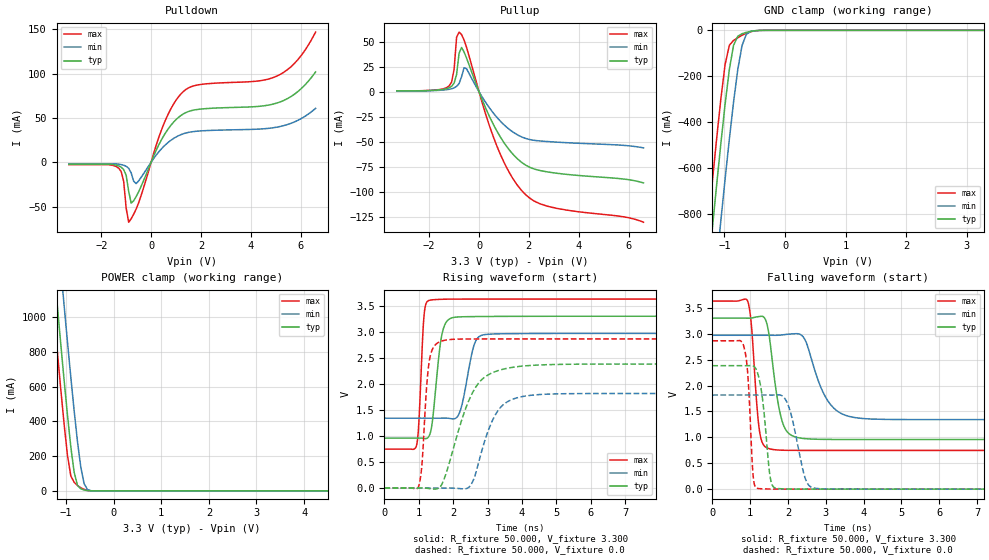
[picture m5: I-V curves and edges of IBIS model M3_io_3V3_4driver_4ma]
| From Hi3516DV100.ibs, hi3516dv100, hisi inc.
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|   Model M3_io_3V3_4driver_4ma
[Model] M3_io_3V3_4driver_4ma
Model_type I/O
Enable   Active-Low
|   typ   min   max
C_comp   3.181pF   3.125pF   3.270pF
C_comp_pullup   1.675pF   1.624pF   1.756pF
C_comp_pulldown   1.280pF   1.254pF   1.411pF
[Temperature Range]   25.000   0.125k   -40.000
[Voltage Range]   3.300V   2.970V   3.630V
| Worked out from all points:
|   slope of the pulldown table from 0 to 0.495 V, typ, clamps not added: 16.9 ohm
|   slope of the pullup table from 0 to 0.495 V, typ, clamps not added: 17.3 ohm
|   GND clamp passes 1 mA (typ) near -0.46 V on its own axis
|   POWER clamp passes 1 mA (typ) near -0.51 V on its own axis
|   rising waveform, R_fixture 50.000, V_fixture 3.300: 20-80 % time 220ps typ, 285ps min, 118ps max; typ from 0.959 V to 3.3 V
|   rising waveform, R_fixture 50.000, V_fixture 0.0: 20-80 % time 742ps typ, 581ps min, 170ps max; typ from 0.001 V to 2.38 V
|   falling waveform, R_fixture 50.000, V_fixture 3.300: 20-80 % time 277ps typ, 523ps min, 168ps max; typ from 3.3 V to 0.959 V
|   falling waveform, R_fixture 50.000, V_fixture 0.0: 20-80 % time 193ps typ, 320ps min, 121ps max; typ from 2.38 V to 0.001 V
[Pulldown]
|Voltage   I(typ)   I(min)   I(max)
-3.3V     -2.354mA   -1.816mA   -2.619mA
-1.3V     -4.156mA   -2.185mA   -6.703mA
-1.1V     -8.261mA   -3.369mA   -21.61mA
-1V       -14.82mA   -4.556mA   -51.87mA
-900mV    -32.66mA   -6.823mA   -67.55mA
-800mV    -46.1mA    -11.93mA   -63.68mA
-600mV    -38.72mA   -24.06mA   -52.72mA
500mV     29.54mA    17.65mA    42.4mA
1.2V      52.77mA    31.15mA    77.07mA
5.1V      67.23mA    39.85mA    97.83mA
5.9V      79.93mA    47.41mA    116mA
6.6V      101.8mA    60.78mA    146.7mA
[Pullup]
|Voltage   I(typ)   I(min)   I(max)
-3.3V     751.9uA    692.7uA    762uA
-1.2V     3.909mA    2.403mA    5.781mA
-1V       8.533mA    3.798mA    22.34mA
-900mV    17.17mA    5.261mA    54.32mA
-800mV    38.41mA    8.181mA    59.49mA
-700mV    44.12mA    14.91mA    56.95mA
-500mV    33.54mA    22.89mA    44.27mA
700mV     -38.47mA   -25.06mA   -53.16mA
1.2V      -57.62mA   -37.28mA   -79.98mA
1.8V      -72.07mA   -45.99mA   -101mA
2.8V      -80.24mA   -49.82mA   -114.6mA
6.6V      -90.99mA   -56.06mA   -130.2mA
[GND_clamp]
|Voltage   I(typ)   I(min)   I(max)
-3.3V     -6.775A    -7.035A    -6.624A
-1.27V    -1.051A    -1.391A    -846.9mA
-1.2V     -860.6mA   -1.2A      -657.1mA
-1.06V    -493.3mA   -827.8mA   -298.8mA
-990mV    -322.2mA   -647.6mA   -149.5mA
-920mV    -171mA     -474.2mA   -65.16mA
-850mV    -64.78mA   -312mA     -43.82mA
-780mV    -25.58mA   -169.8mA   -31.88mA
-710mV    -14.94mA   -66.04mA   -21.48mA
-640mV    -8.835mA   -17.88mA   -12.82mA
-430mV    -438.1uA   -627.6uA   -443.7uA
3.28V     0A         0A         0A
[POWER_clamp]
|Voltage   I(typ)   I(min)   I(max)
-3.28V    7.852A     8.261A     7.609A
-1.32V    1.49A      1.927A     1.226A
-1.25V    1.271A     1.708A     1.008A
-1.18V    1.055A     1.491A     792.2mA
-1.04V    634.5mA    1.064A     382.2mA
-970mV    435.8mA    856.3mA    204.2mA
-900mV    253.6mA    654.3mA    86.06mA
-830mV    107.5mA    461.4mA    49.65mA
-690mV    11.98mA    135.8mA    17.79mA
-620mV    5.154mA    41.17mA    8.874mA
-480mV    413.3uA    1.23mA     720.7uA
6.6V      -86.79uA   -162.7nA   -146.4uA
[Ramp]
| variable   typ   min   max
dV/dt_r   1.429/0.742n   1.090/0.582n   1.718/0.175n
dV/dt_f   1.405/0.278n   0.977/0.523n   1.730/0.171n
R_load = 50.000
[Rising Waveform]
R_fixture= 50.000
V_fixture= 3.300
V_fixture_min= 2.970
V_fixture_max= 3.630
|time   V(typ)   V(min)   V(max)
0s        958.8mV    1.342V     747.8mV
932ps     958.7mV    1.342V     814.5mV
1ns       958.9mV    1.342V     1.243V
1.147ns   954.2mV    1.342V     3.267V
1.29ns    988.7mV    1.342V     3.602V
1.668ns   2.933V     1.342V     3.626V
1.942ns   3.265V     1.332V     3.629V
2.201ns   3.288V     1.474V     3.63V
2.861ns   3.295V     2.941V     3.63V
10ns      3.3V       2.97V      3.63V
[Rising Waveform]
R_fixture= 50.000
V_fixture= 0.0
V_fixture_min= 0.0
V_fixture_max= 0.0
|time   V(typ)   V(min)   V(max)
0s        890.9uV    0V         1.119mV
990ps     820.4uV    1.033uV    25.31mV
1.094ns   1.7mV      0V         468.9mV
1.217ns   -2.033mV   0V         1.843V
1.303ns   -10.4mV    5.002uV    2.43V
1.608ns   15.08mV    -11.24uV   2.809V
2.491ns   1.731V     38.78mV    2.863V
3.185ns   2.226V     1.354V     2.864V
4.29ns    2.356V     1.784V     2.864V
10ns      2.383V     1.817V     2.864V
[Falling Waveform]
R_fixture= 50.000
V_fixture= 3.300
V_fixture_min= 2.970
V_fixture_max= 3.630
|time   V(typ)   V(min)   V(max)
0s        3.3V       2.97V      3.63V
940ps     3.299V     2.97V      3.615V
1.035ns   3.303V     2.97V      3.143V
1.244ns   3.332V     2.97V      1.137V
1.471ns   3.097V     2.97V      788.6mV
1.811ns   1.404V     2.975V     752.9mV
2.182ns   1.011V     3V         748.4mV
3.039ns   960.3mV    1.721V     747.8mV
3.588ns   959mV      1.409V     747.8mV
10ns      958.8mV    1.342V     747.3mV
[Falling Waveform]
R_fixture= 50.000
V_fixture= 0.0
V_fixture_min= 0.0
V_fixture_max= 0.0
|time   V(typ)   V(min)   V(max)
0s        2.383V     1.817V     2.864V
828ps     2.383V     1.817V     2.764V
940ps     2.383V     1.817V     2.18V
1.075ns   2.38V      1.817V     287.3mV
1.186ns   2.262V     1.817V     17.75mV
1.519ns   279.4mV    1.817V     3.008mV
1.645ns   27.34mV    1.817V     2.033mV
1.999ns   4.022mV    1.631V     1.24mV
2.676ns   1.072mV    22.36mV    1.122mV
10ns      889.8uV    0V         1.119mV
